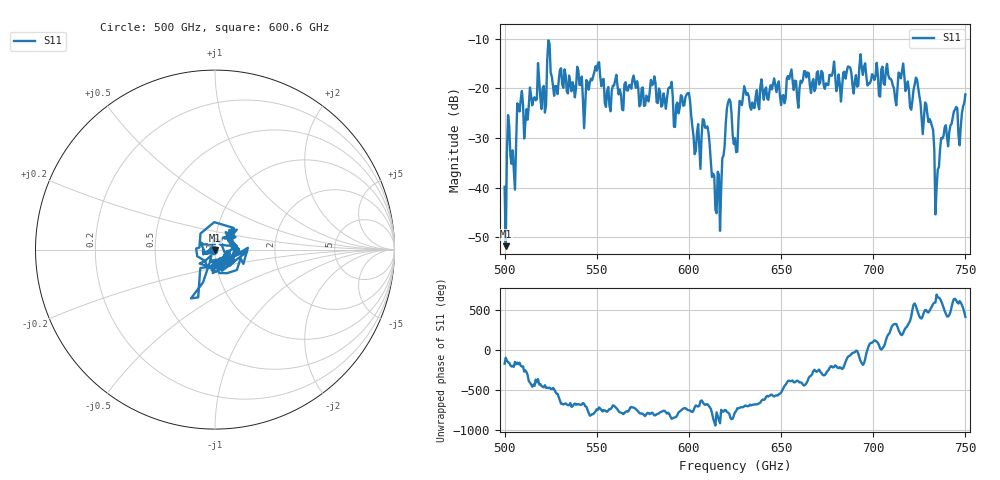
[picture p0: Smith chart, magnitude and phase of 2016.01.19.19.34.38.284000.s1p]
!Created with skrf (http://scikit-rf.org).
# GHz S RI R 50.0
!freq ReS11 ImS11
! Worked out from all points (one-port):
!   401 points, 500 GHz to 750 GHz, reference 50 ohm
!   lowest |S11| = -51.7 dB at 500.6 GHz (marker M1), VSWR 1.01, Z = 50 - j0.256 ohm
!   |S11| at or under -10 dB: start of sweep to end of sweep
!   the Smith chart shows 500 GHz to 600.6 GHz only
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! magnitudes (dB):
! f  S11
! 500 GHz  -39.8
! 500.6 GHz  -51.7
! 502.5 GHz  -27.5
! 505 GHz  -36.6
! 508.1 GHz  -24.7
! 521.2 GHz  -19.5
! 524.4 GHz  -11.0
! 527.5 GHz  -19.5
! 531.2 GHz  -19.2
! 543.8 GHz  -23.0
! 550 GHz  -16.4
! 562.5 GHz  -20.2
! 580.6 GHz  -19.1
! 593.8 GHz  -22.9
! 599.4 GHz  -21.0
! 605 GHz  -27.2
! 608.8 GHz  -27.9
! 615.6 GHz  -36.8
! 621.2 GHz  -22.8
! 625 GHz  -30.0
! 630.6 GHz  -20.4
! 656.2 GHz  -18.5
! 687.5 GHz  -15.8
! 718.8 GHz  -18.6
! 729.4 GHz  -25.2
! 734.4 GHz  -40.0
! 738.1 GHz  -29.6
! 750 GHz  -21.2
